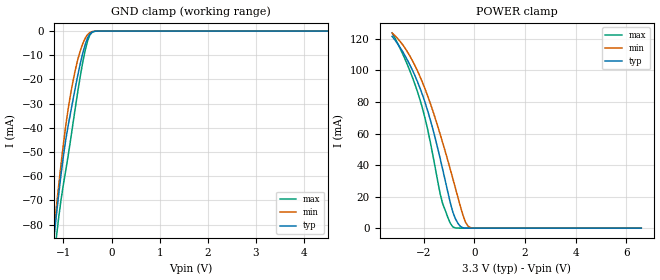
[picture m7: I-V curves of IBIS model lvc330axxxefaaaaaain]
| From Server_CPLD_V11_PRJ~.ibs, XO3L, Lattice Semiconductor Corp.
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[Model]   lvc330axxxefaaaaaain
Model_type   Input
Polarity   Non-Inverting
Enable   Active-Low
Vinl =   0.8000V
Vinh =   2.0000V
C_comp   4.2000pF   3.8000pF   7.5000pF
[Temperature Range]   25.0000   0.1050k   -40.0000
[Voltage Range]   3.3000V   3.1400V   3.4700V
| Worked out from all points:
|   GND clamp passes 1 mA (typ) near -0.44 V on its own axis
|   POWER clamp passes 1 mA (typ) near -0.54 V on its own axis
[GND_clamp]
|Voltage   I(typ)   I(min)   I(max)
-3.3V     -955.3mA   -930.3mA   -978mA
-1.2V     -86.18mA   -82.93mA   -94.91mA
-1.15V    -76.73mA   -73.29mA   -85.74mA
-1.1V     -67.71mA   -63.95mA   -77.28mA
-1V       -51.52mA   -46.57mA   -63.21mA
-900mV    -38.87mA   -31.88mA   -51.26mA
-800mV    -28.25mA   -20.58mA   -37.97mA
-700mV    -18.1mA    -11.63mA   -24.81mA
-600mV    -9.267mA   -5.265mA   -13.06mA
-450mV    -1.181mA   -586.6uA   -1.592mA
-250mV    -3.532uA   -4.055uA   -3.003uA
6.6V      0A         0A         0A
[POWER_clamp]
|Voltage   I(typ)   I(min)   I(max)
-3.25V    121.6mA    123.7mA    123.8mA
-2.55V    103.6mA    109.2mA    99.91mA
-2.05V    84.55mA    92.42mA    76.01mA
-1.85V    74.75mA    84.09mA    62.98mA
-1.65V    63.47mA    74.86mA    47.24mA
-1.35V    44.14mA    59.56mA    21.79mA
-1.25V    37.23mA    54.16mA    15.46mA
-850mV    10.22mA    31.49mA    813uA
-650mV    3.122mA    19.66mA    19.66uA
-350mV    37.56uA    3.815mA    1.535uA
-150mV    934.2nA    336.7uA    1.026uA
6.6V      -57.56nA   -49.34nA   -232.5nA
